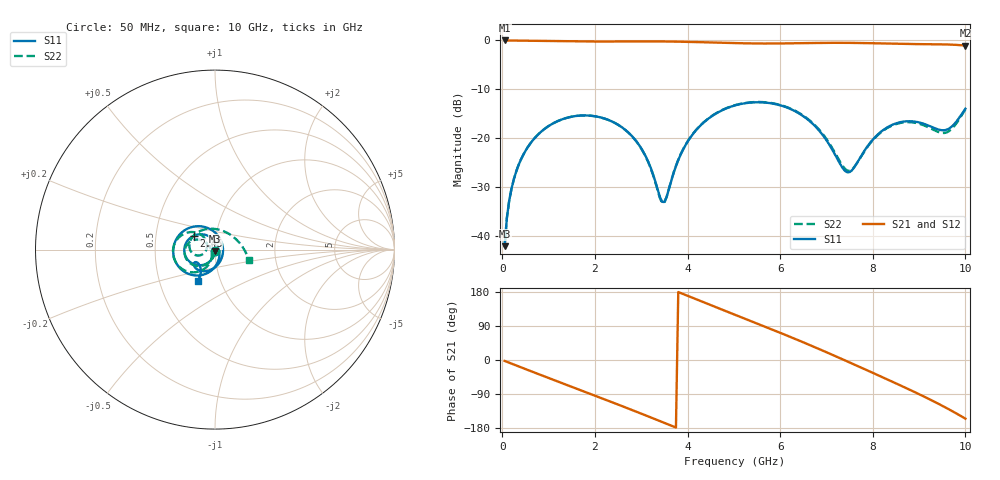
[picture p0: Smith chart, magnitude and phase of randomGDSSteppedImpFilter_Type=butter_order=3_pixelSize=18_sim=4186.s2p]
! freq	dB(S11)	phase(S11)	dB(S12)	phase(S12)
!  dB(S21)	phase(S21)	dB(S22)	phase(S22)
!S-par simulation data
#  GHz  S  DB  R 50
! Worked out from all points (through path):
!   200 points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, 50 MHz to 10 GHz, reference 50 ohm
!   highest |S21| = 0.00 dB at 50 MHz (marker M1); lowest = -1.1 dB at 10 GHz (marker M2)
!   group delay of S21, straight-line fit = 140 ps
!   lowest |S11| = -42.1 dB at 50 MHz (marker M3), VSWR 1.02, Z = 50 - j0.786 ohm
!   |S11| at or under -10 dB: start of sweep to end of sweep
!   |S22| runs from -42.1 to -12.6 dB; largest |S21 - S12| = 0
!   S11 on the Smith chart (normalised r, x): 50 MHz: 1.00, -0.02; 2.45 GHz: 0.78, +0.12; 10 GHz: 0.78, -0.29
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0.05  -42.09 -92.1  -0.00 -2.4  -0.00 -2.4  -42.08 -92.0
0.1  -36.21 -95.3  -0.01 -4.8  -0.01 -4.8  -36.22 -95.0
0.2  -30.27 -100.2  -0.02 -9.6  -0.02 -9.6  -30.27 -99.6
0.5  -22.59 -115.1  -0.05 -23.9  -0.05 -23.9  -22.59 -113.5
1.05  -17.22 -142.2  -0.14 -49.9  -0.14 -49.9  -17.22 -138.8
1.75  -15.34 -176.7  -0.22 -82.4  -0.22 -82.4  -15.35 -169.9
2.45  -16.97 147.2  -0.22 -115.2  -0.22 -115.2  -16.99 160.7
3  -22.06 112.7  -0.20 -141.5  -0.20 -141.5  -22.12 142.7
3.4  -31.91 49.1  -0.20 -161.0  -0.20 -161.0  -32.15 168.1
3.5  -33.04 3.1  -0.21 -165.9  -0.21 -165.9  -33.20 -154.4
3.8  -24.48 -70.2  -0.25 179.3  -0.25 179.3  -24.41 -111.4
4.15  -18.75 -98.7  -0.32 162.1  -0.32 162.1  -18.70 -117.6
5.05  -13.22 -149.7  -0.56 118.2  -0.56 118.2  -13.17 -153.7
5.9  -13.03 164.8  -0.63 76.8  -0.63 76.8  -12.96 169.6
6.7  -17.03 115.6  -0.53 36.3  -0.53 36.3  -16.88 138.3
7.45  -26.98 7.7  -0.49 -3.7  -0.49 -3.7  -26.62 163.1
7.9  -21.47 -78.9  -0.56 -28.4  -0.56 -28.4  -21.59 -158.9
8.35  -17.59 -114.4  -0.65 -53.2  -0.65 -53.2  -17.73 -172.4
8.8  -16.53 -137.7  -0.73 -78.6  -0.73 -78.6  -16.72 160.2
9.2  -17.40 -147.8  -0.77 -102.1  -0.77 -102.1  -17.77 123.0
9.6  -18.25 -134.6  -0.82 -127.2  -0.82 -127.2  -18.80 56.5
10  -13.97 -118.5  -1.06 -154.8  -1.06 -154.8  -14.11 -17.0
